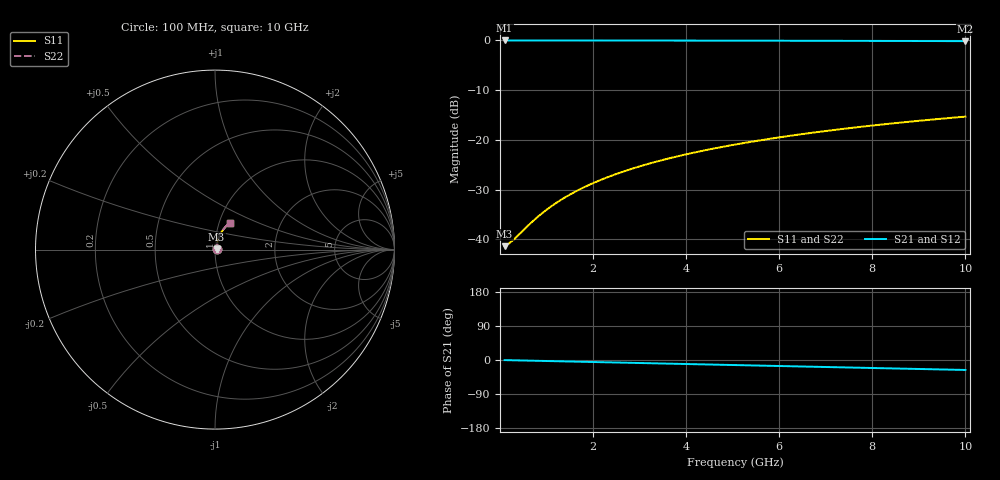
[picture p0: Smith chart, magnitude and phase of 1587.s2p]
# Hz S RI R 50.00
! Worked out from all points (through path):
!   100 points, 100 MHz to 10 GHz, reference 50 ohm
!   highest |S21| = -0.07 dB at 100 MHz (marker M1); lowest = -0.2 dB at 10 GHz (marker M2)
!   group delay of S21, straight-line fit = 7.31 ps
!   lowest |S11| = -41.4 dB at 100 MHz (marker M3), VSWR 1.02, Z = 50.8 + j0.177 ohm
!   |S11| at or under -10 dB: start of sweep to end of sweep
!   |S22| runs from -41.4 to -15.4 dB; largest |S21 - S12| = 0
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1e8  0.00836 0.00174  0.9916 -0.00459  0.9916 -0.00459  0.00836 0.00174
2e8  0.00844 0.00349  0.9915 -0.00918  0.9915 -0.00918  0.00844 0.00349
3e8  0.00852 0.00523  0.9914 -0.0138  0.9914 -0.0138  0.00852 0.00523
7e8  0.00895 0.0122  0.9908 -0.0321  0.9908 -0.0321  0.00895 0.0122
8e8  0.00909 0.0139  0.9906 -0.0367  0.9906 -0.0367  0.00909 0.0139
1e9  0.00941 0.0174  0.9902 -0.0459  0.9902 -0.0459  0.00941 0.0174
1.2e9  0.0098 0.0209  0.9896 -0.055  0.9896 -0.055  0.0098 0.0209
1.4e9  0.0102 0.0243  0.9889 -0.0642  0.9889 -0.0642  0.0102 0.0243
1.6e9  0.0108 0.0278  0.9882 -0.0733  0.9882 -0.0733  0.0108 0.0278
1.8e9  0.0113 0.0312  0.9873 -0.0824  0.9873 -0.0824  0.0113 0.0312
2.1e9  0.0123 0.0363  0.9859 -0.0961  0.9859 -0.0961  0.0123 0.0363
2.5e9  0.0138 0.0431  0.9836 -0.1143  0.9836 -0.1143  0.0138 0.0431
2.9e9  0.0156 0.0499  0.9809 -0.1324  0.9809 -0.1324  0.0156 0.0499
3.4e9  0.0181 0.0582  0.9771 -0.1549  0.9771 -0.1549  0.0181 0.0582
3.8e9  0.0204 0.0647  0.9736 -0.1728  0.9736 -0.1728  0.0204 0.0647
4.2e9  0.023 0.0712  0.9697 -0.1906  0.9697 -0.1906  0.023 0.0712
5.1e9  0.0295 0.0853  0.9597 -0.2303  0.9597 -0.2303  0.0295 0.0853
5.9e9  0.0363 0.0973  0.9493 -0.265  0.9493 -0.265  0.0363 0.0973
6.7e9  0.044 0.1088  0.9375 -0.2991  0.9375 -0.2991  0.044 0.1088
7.5e9  0.0524 0.1196  0.9244 -0.3326  0.9244 -0.3326  0.0524 0.1196
8.4e9  0.0628 0.131  0.9081 -0.3694  0.9081 -0.3694  0.0628 0.131
1e10  0.0833 0.1489  0.8753 -0.4323  0.8753 -0.4323  0.0833 0.1489
